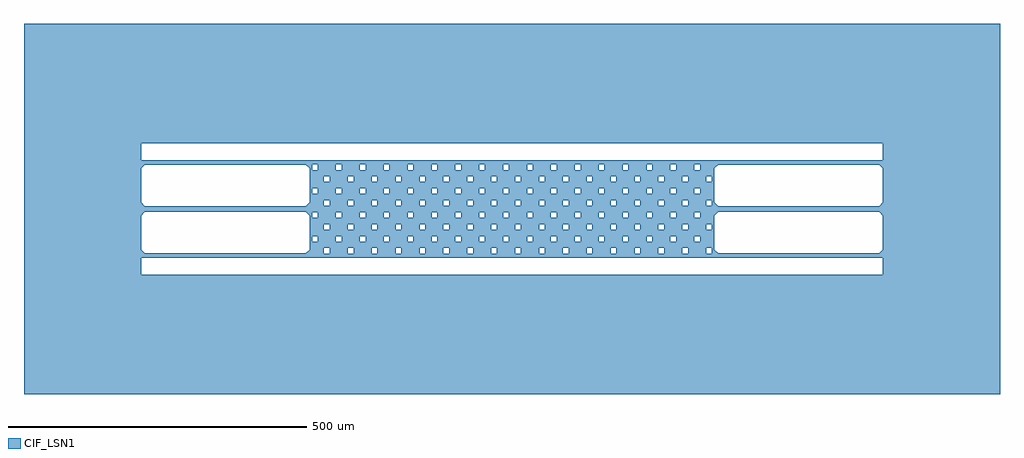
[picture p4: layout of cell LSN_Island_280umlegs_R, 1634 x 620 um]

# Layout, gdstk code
import gdstk
lib = gdstk.Library(unit=1e-6, precision=1e-09)
def R(c, l, rs):  # rectangles x0, y0, x1, y1
    for r in rs: c.add(gdstk.rectangle(r[:2], r[2:], *l))
def A(c, l, x, y, w, h, nx, ny, dx, dy):  # array of equal rectangles
    R(c, l, [(x+i*dx, y+j*dy, x+i*dx+w, y+j*dy+h) for i in range(nx) for j in range(ny)])
def P(c, l, *ps):  # polygons
    for p in ps: c.add(gdstk.Polygon(p, *l))
CIF_LSN1 = (13, 0)

lsn_island_280umlegs_r = lib.new_cell('LSN_Island_280umlegs_R')
A(lsn_island_280umlegs_r, CIF_LSN1, -174.75, -45.25, 9.5, 30.5, 1, 3, 0, 40)
A(lsn_island_280umlegs_r, CIF_LSN1, 185.25, -45.25, 9.5, 30.5, 1, 3, 0, 40)
R(lsn_island_280umlegs_r, CIF_LSN1, [(-5.25,-310,621,-110), (-174.75,-82,-165.25,-54.75), (185.25,-82,194.75,-54.75), (-5.25,110,185.25,310)])
P(lsn_island_280umlegs_r, CIF_LSN1, [(-817,-310),(-817,310),(-5.25,310),(-5.25,110),(-621,110),(-621,82),(-339.001,82),(-339.001,68),(-345.001,74),(-615.001,74),(-621,68.001),(-621,10.999),(-615.001,5),(-345.001,5),(-339.001,11),(-339.001,-11),(-345.001,-5),(-615.001,-5),(-621,-10.999),(-621,-68.001),(-615.001,-74),(-345.001,-74),(-339.001,-68),(-339.001,-82),(-621,-82),(-621,-110),(-5.25,-110),(-5.25,-310)],
  [(-339,-82),(-339,82),(-174.75,82),(-174.75,-82),(-185.25,-82),(-185.25,54.75),(-194.75,54.75),(-194.75,45.25),(-185.25,45.25),(-185.25,14.75),(-194.75,14.75),(-194.75,5.25),(-185.25,5.25),(-185.25,-25.25),(-194.75,-25.25),(-194.75,-34.75),(-185.25,-34.75),(-185.25,-65.25),(-194.75,-65.25),(-194.75,-74.75),(-185.25,-74.75),(-185.25,-82),(-205.25,-82),(-205.25,74.75),(-214.75,74.75),(-214.75,65.25),(-205.25,65.25),(-205.25,34.75),(-214.75,34.75),(-214.75,25.25),(-205.25,25.25),(-205.25,-5.25),(-214.75,-5.25),(-214.75,-14.75),(-205.25,-14.75),(-205.25,-45.25),(-214.75,-45.25),(-214.75,-54.75),(-205.25,-54.75),(-205.25,-82),(-225.25,-82),(-225.25,54.75),(-234.75,54.75),(-234.75,45.25),(-225.25,45.25),(-225.25,14.75),(-234.75,14.75),(-234.75,5.25),(-225.25,5.25),(-225.25,-25.25),(-234.75,-25.25),(-234.75,-34.75),(-225.25,-34.75),(-225.25,-65.25),(-234.75,-65.25),(-234.75,-74.75),(-225.25,-74.75),(-225.25,-82),(-245.25,-82),(-245.25,74.75),(-254.75,74.75),(-254.75,65.25),(-245.25,65.25),(-245.25,34.75),(-254.75,34.75),(-254.75,25.25),(-245.25,25.25),(-245.25,-5.25),(-254.75,-5.25),(-254.75,-14.75),(-245.25,-14.75),(-245.25,-45.25),(-254.75,-45.25),(-254.75,-54.75),(-245.25,-54.75),(-245.25,-82),(-265.25,-82),(-265.25,54.75),(-274.75,54.75),(-274.75,45.25),(-265.25,45.25),(-265.25,14.75),(-274.75,14.75),(-274.75,5.25),(-265.25,5.25),(-265.25,-25.25),(-274.75,-25.25),(-274.75,-34.75),(-265.25,-34.75),(-265.25,-65.25),(-274.75,-65.25),(-274.75,-74.75),(-265.25,-74.75),(-265.25,-82),(-285.25,-82),(-285.25,74.75),(-294.75,74.75),(-294.75,65.25),(-285.25,65.25),(-285.25,34.75),(-294.75,34.75),(-294.75,25.25),(-285.25,25.25),(-285.25,-5.25),(-294.75,-5.25),(-294.75,-14.75),(-285.25,-14.75),(-285.25,-45.25),(-294.75,-45.25),(-294.75,-54.75),(-285.25,-54.75),(-285.25,-82),(-305.25,-82),(-305.25,54.75),(-314.75,54.75),(-314.75,45.25),(-305.25,45.25),(-305.25,14.75),(-314.75,14.75),(-314.75,5.25),(-305.25,5.25),(-305.25,-25.25),(-314.75,-25.25),(-314.75,-34.75),(-305.25,-34.75),(-305.25,-65.25),(-314.75,-65.25),(-314.75,-74.75),(-305.25,-74.75),(-305.25,-82),(-325.25,-82),(-325.25,74.75),(-334.75,74.75),(-334.75,65.25),(-325.25,65.25),(-325.25,34.75),(-334.75,34.75),(-334.75,25.25),(-325.25,25.25),(-325.25,-5.25),(-334.75,-5.25),(-334.75,-14.75),(-325.25,-14.75),(-325.25,-45.25),(-334.75,-45.25),(-334.75,-54.75),(-325.25,-54.75),(-325.25,-82)],
  [(-165.25,-82),(-165.25,74.75),(-174.75,74.75),(-174.75,82),(-5.25,82),(-5.25,74.75),(-14.75,74.75),(-14.75,65.25),(-5.25,65.25),(-5.25,34.75),(-14.75,34.75),(-14.75,25.25),(-5.25,25.25),(-5.25,-5.25),(-14.75,-5.25),(-14.75,-14.75),(-5.25,-14.75),(-5.25,-45.25),(-14.75,-45.25),(-14.75,-54.75),(-5.25,-54.75),(-5.25,-82),(-25.25,-82),(-25.25,54.75),(-34.75,54.75),(-34.75,45.25),(-25.25,45.25),(-25.25,14.75),(-34.75,14.75),(-34.75,5.25),(-25.25,5.25),(-25.25,-25.25),(-34.75,-25.25),(-34.75,-34.75),(-25.25,-34.75),(-25.25,-65.25),(-34.75,-65.25),(-34.75,-74.75),(-25.25,-74.75),(-25.25,-82),(-45.25,-82),(-45.25,74.75),(-54.75,74.75),(-54.75,65.25),(-45.25,65.25),(-45.25,34.75),(-54.75,34.75),(-54.75,25.25),(-45.25,25.25),(-45.25,-5.25),(-54.75,-5.25),(-54.75,-14.75),(-45.25,-14.75),(-45.25,-45.25),(-54.75,-45.25),(-54.75,-54.75),(-45.25,-54.75),(-45.25,-82),(-65.25,-82),(-65.25,54.75),(-74.75,54.75),(-74.75,45.25),(-65.25,45.25),(-65.25,14.75),(-74.75,14.75),(-74.75,5.25),(-65.25,5.25),(-65.25,-25.25),(-74.75,-25.25),(-74.75,-34.75),(-65.25,-34.75),(-65.25,-65.25),(-74.75,-65.25),(-74.75,-74.75),(-65.25,-74.75),(-65.25,-82),(-85.25,-82),(-85.25,74.75),(-94.75,74.75),(-94.75,65.25),(-85.25,65.25),(-85.25,34.75),(-94.75,34.75),(-94.75,25.25),(-85.25,25.25),(-85.25,-5.25),(-94.75,-5.25),(-94.75,-14.75),(-85.25,-14.75),(-85.25,-45.25),(-94.75,-45.25),(-94.75,-54.75),(-85.25,-54.75),(-85.25,-82),(-105.25,-82),(-105.25,54.75),(-114.75,54.75),(-114.75,45.25),(-105.25,45.25),(-105.25,14.75),(-114.75,14.75),(-114.75,5.25),(-105.25,5.25),(-105.25,-25.25),(-114.75,-25.25),(-114.75,-34.75),(-105.25,-34.75),(-105.25,-65.25),(-114.75,-65.25),(-114.75,-74.75),(-105.25,-74.75),(-105.25,-82),(-125.25,-82),(-125.25,74.75),(-134.75,74.75),(-134.75,65.25),(-125.25,65.25),(-125.25,34.75),(-134.75,34.75),(-134.75,25.25),(-125.25,25.25),(-125.25,-5.25),(-134.75,-5.25),(-134.75,-14.75),(-125.25,-14.75),(-125.25,-45.25),(-134.75,-45.25),(-134.75,-54.75),(-125.25,-54.75),(-125.25,-82),(-145.25,-82),(-145.25,54.75),(-154.75,54.75),(-154.75,45.25),(-145.25,45.25),(-145.25,14.75),(-154.75,14.75),(-154.75,5.25),(-145.25,5.25),(-145.25,-25.25),(-154.75,-25.25),(-154.75,-34.75),(-145.25,-34.75),(-145.25,-65.25),(-154.75,-65.25),(-154.75,-74.75),(-145.25,-74.75),(-145.25,-82)],
  [(-5.25,-82),(-5.25,82),(185.25,82),(185.25,-82),(174.75,-82),(174.75,54.75),(165.25,54.75),(165.25,45.25),(174.75,45.25),(174.75,14.75),(165.25,14.75),(165.25,5.25),(174.75,5.25),(174.75,-25.25),(165.25,-25.25),(165.25,-34.75),(174.75,-34.75),(174.75,-65.25),(165.25,-65.25),(165.25,-74.75),(174.75,-74.75),(174.75,-82),(154.75,-82),(154.75,74.75),(145.25,74.75),(145.25,65.25),(154.75,65.25),(154.75,34.75),(145.25,34.75),(145.25,25.25),(154.75,25.25),(154.75,-5.25),(145.25,-5.25),(145.25,-14.75),(154.75,-14.75),(154.75,-45.25),(145.25,-45.25),(145.25,-54.75),(154.75,-54.75),(154.75,-82),(134.75,-82),(134.75,54.75),(125.25,54.75),(125.25,45.25),(134.75,45.25),(134.75,14.75),(125.25,14.75),(125.25,5.25),(134.75,5.25),(134.75,-25.25),(125.25,-25.25),(125.25,-34.75),(134.75,-34.75),(134.75,-65.25),(125.25,-65.25),(125.25,-74.75),(134.75,-74.75),(134.75,-82),(114.75,-82),(114.75,74.75),(105.25,74.75),(105.25,65.25),(114.75,65.25),(114.75,34.75),(105.25,34.75),(105.25,25.25),(114.75,25.25),(114.75,-5.25),(105.25,-5.25),(105.25,-14.75),(114.75,-14.75),(114.75,-45.25),(105.25,-45.25),(105.25,-54.75),(114.75,-54.75),(114.75,-82),(94.75,-82),(94.75,54.75),(85.25,54.75),(85.25,45.25),(94.75,45.25),(94.75,14.75),(85.25,14.75),(85.25,5.25),(94.75,5.25),(94.75,-25.25),(85.25,-25.25),(85.25,-34.75),(94.75,-34.75),(94.75,-65.25),(85.25,-65.25),(85.25,-74.75),(94.75,-74.75),(94.75,-82),(74.75,-82),(74.75,74.75),(65.25,74.75),(65.25,65.25),(74.75,65.25),(74.75,34.75),(65.25,34.75),(65.25,25.25),(74.75,25.25),(74.75,-5.25),(65.25,-5.25),(65.25,-14.75),(74.75,-14.75),(74.75,-45.25),(65.25,-45.25),(65.25,-54.75),(74.75,-54.75),(74.75,-82),(54.75,-82),(54.75,54.75),(45.25,54.75),(45.25,45.25),(54.75,45.25),(54.75,14.75),(45.25,14.75),(45.25,5.25),(54.75,5.25),(54.75,-25.25),(45.25,-25.25),(45.25,-34.75),(54.75,-34.75),(54.75,-65.25),(45.25,-65.25),(45.25,-74.75),(54.75,-74.75),(54.75,-82),(34.75,-82),(34.75,74.75),(25.25,74.75),(25.25,65.25),(34.75,65.25),(34.75,34.75),(25.25,34.75),(25.25,25.25),(34.75,25.25),(34.75,-5.25),(25.25,-5.25),(25.25,-14.75),(34.75,-14.75),(34.75,-45.25),(25.25,-45.25),(25.25,-54.75),(34.75,-54.75),(34.75,-82),(14.75,-82),(14.75,54.75),(5.25,54.75),(5.25,45.25),(14.75,45.25),(14.75,14.75),(5.25,14.75),(5.25,5.25),(14.75,5.25),(14.75,-25.25),(5.25,-25.25),(5.25,-34.75),(14.75,-34.75),(14.75,-65.25),(5.25,-65.25),(5.25,-74.75),(14.75,-74.75),(14.75,-82)],
  [(621,-310),(621,68),(615,74),(345,74),(339,68),(339,11),(345,5),(615,5),(621,11),(621,-11),(615,-5),(345,-5),(339,-11),(339,-68),(345,-74),(615,-74),(621,-68),(621,-82),(334.75,-82),(334.75,54.75),(325.25,54.75),(325.25,45.25),(334.75,45.25),(334.75,14.75),(325.25,14.75),(325.25,5.25),(334.75,5.25),(334.75,-25.25),(325.25,-25.25),(325.25,-34.75),(334.75,-34.75),(334.75,-65.25),(325.25,-65.25),(325.25,-74.75),(334.75,-74.75),(334.75,-82),(314.75,-82),(314.75,74.75),(305.25,74.75),(305.25,65.25),(314.75,65.25),(314.75,34.75),(305.25,34.75),(305.25,25.25),(314.75,25.25),(314.75,-5.25),(305.25,-5.25),(305.25,-14.75),(314.75,-14.75),(314.75,-45.25),(305.25,-45.25),(305.25,-54.75),(314.75,-54.75),(314.75,-82),(294.75,-82),(294.75,54.75),(285.25,54.75),(285.25,45.25),(294.75,45.25),(294.75,14.75),(285.25,14.75),(285.25,5.25),(294.75,5.25),(294.75,-25.25),(285.25,-25.25),(285.25,-34.75),(294.75,-34.75),(294.75,-65.25),(285.25,-65.25),(285.25,-74.75),(294.75,-74.75),(294.75,-82),(274.75,-82),(274.75,74.75),(265.25,74.75),(265.25,65.25),(274.75,65.25),(274.75,34.75),(265.25,34.75),(265.25,25.25),(274.75,25.25),(274.75,-5.25),(265.25,-5.25),(265.25,-14.75),(274.75,-14.75),(274.75,-45.25),(265.25,-45.25),(265.25,-54.75),(274.75,-54.75),(274.75,-82),(254.75,-82),(254.75,54.75),(245.25,54.75),(245.25,45.25),(254.75,45.25),(254.75,14.75),(245.25,14.75),(245.25,5.25),(254.75,5.25),(254.75,-25.25),(245.25,-25.25),(245.25,-34.75),(254.75,-34.75),(254.75,-65.25),(245.25,-65.25),(245.25,-74.75),(254.75,-74.75),(254.75,-82),(234.75,-82),(234.75,74.75),(225.25,74.75),(225.25,65.25),(234.75,65.25),(234.75,34.75),(225.25,34.75),(225.25,25.25),(234.75,25.25),(234.75,-5.25),(225.25,-5.25),(225.25,-14.75),(234.75,-14.75),(234.75,-45.25),(225.25,-45.25),(225.25,-54.75),(234.75,-54.75),(234.75,-82),(214.75,-82),(214.75,54.75),(205.25,54.75),(205.25,45.25),(214.75,45.25),(214.75,14.75),(205.25,14.75),(205.25,5.25),(214.75,5.25),(214.75,-25.25),(205.25,-25.25),(205.25,-34.75),(214.75,-34.75),(214.75,-65.25),(205.25,-65.25),(205.25,-74.75),(214.75,-74.75),(214.75,-82),(194.75,-82),(194.75,74.75),(185.25,74.75),(185.25,82),(621,82),(621,110),(185.25,110),(185.25,310),(817,310),(817,-310)])

lib.write_gds('LSN_Island_280umlegs_R.gds')
